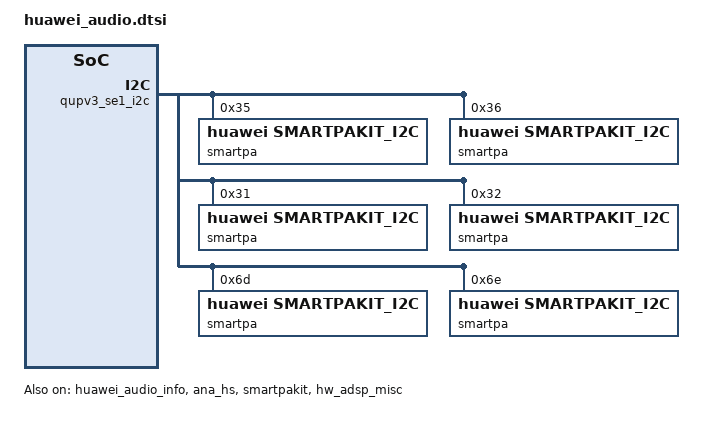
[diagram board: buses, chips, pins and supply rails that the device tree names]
&bolero {
	wcd937x-codec {
		qcom,cdc-micbias1-mv = <2700>;
		qcom,cdc-micbias2-mv = <2700>;
		qcom,cdc-micbias3-mv = <2700>;
	};
};

&bengal_snd {
	always_enable_micbias_after_insert = "true";
	disable_elect_insert_irq = "true";
};

&tlmm {
	smartpakit_irq_pins: smartpakit_irq_pins {
		smartpakit_irq_default: smartpakit_irq_default {
			mux {
				pins = "gpio103", "gpio102";
				function = "gpio";
			};

			config {
				pins = "gpio103", "gpio102";
				bias-pull-up;
				input-enable;
			};
		};
	};
};

&huawei_audio_info {
	compatible = "hw,hw_audio_info";
	product_identifier = "STG";
	voice_vol_level = "10";
	pa_identifier = "smartpakit";
	smartpa_i2s = <1>;
	smartpa_num = "2";
	speaker_test_content = "main_right_speaker,main_left_speaker";
	status = "ok";
	hardware_info {
		mic_num = "2";
		direct_devices = "0x4000000";
		get_ec_in_hal = "true";
		voip_handset_concurrency = "true";
		voip_ap_algo_enable = "true";
		voip_scene_support = "true";
		need_mode_delay = "true";
		status = "ok";
		mic_content = "bottom:mainmic#top:submic";
	};

	audio_channel_rotation_info {
		angle="90";
		rotation_support= "true";
	};
};

&tlmm {
	audio_mic_en_on: audio_mic_en_on {
		mux {
			pins = "gpio111";
			function = "gpio";
		};

		config {
			pins = "gpio111";
			bias-disable;
			output-high;
			drive-strength = <2>; /* 2 MA */
		};
	};

	audio_mic_en_off: audio_mic_en_off {
		mux {
			pins = "gpio111";
			function = "gpio";
		};

		config {
			pins = "gpio111";
			bias-disable;
			output-low;
			bias-pull-down; /* PULL DOWN */
			drive-strength = <2>; /* 2 MA */
		};
	};

	typec_ear_3v3_en_on: typec_ear_3v3_en_on {
		mux {
			pins = "gpio112";
			function = "gpio";
		};

		config {
			pins = "gpio112";
			drive-strength = <2>;
			bias-disable;
			output-high;
		};
	};

	typec_ear_3v3_en_off: typec_ear_3v3_en_off {
		mux {
			pins = "gpio112";
			function = "gpio";
		};

		config {
			pins = "gpio112";
			drive-strength = <2>;
			bias-pull-down;
			input-enable;
		};

	};

	smartpa1_reset: smartpa1_reset {
		mux {
			pins = "gpio108";
			function = "gpio";
		};

		config {
			pins = "gpio108";
			bias-disable;
			output-low;
			bias-pull-down; /* PULL DOWN */
			drive-strength = <2>; /* 2 MA */
		};
	};
};

&ana_hs {
	compatible = "huawei,ana_hs";
	status = "ok";
	ana_hs_core@0 {
		compatible = "huawei,ana_hs_core";
		pinctrl_used;  // use pinctrl to set ldo supply
		bus_type = <2>; // 0: gpio,  1: i2c,   2: pinctrl

		pinctrl-names = "mic_off", "mic_on", "ldo_off", "ldo_on";
		pinctrl-0 = <&audio_mic_en_off>;
		pinctrl-1 = <&audio_mic_en_on>;
		pinctrl-2 = <&typec_ear_3v3_en_off>;
		pinctrl-3 = <&typec_ear_3v3_en_on>;

		plugout_timing_optimization = <1>;
		plugin_status_stable_delay = <300>;
		status = "ok";
	};
};

&audio_hw_config {
	asr_enable = "true";
	vassistant_call = "true";
	cam_record_perf = "true";
	voip_perf = "true";
};

&qupv3_se1_i2c {
	#address-cells = <1>;
	#size-cells = <0>;
	status = "ok";

	smartpa@35 {
		compatible = "huawei,smartpakit_i2c";
		reg = <0x35>;
		pa_num_by_same_i2c_addr = <2>;
		status = "ok";

		smartpa0 {
			/* 0 MAXIM, 1 NXP, 2 TI, 3 OTHER, 4:huawei customize */
			chip_vendor = <4>;
			/* refer to smartpakit.out_device prop */
			chip_id = <0>;
			chip_model = "01-02";
			status = "ok";

			/* reg_ctl node: a node contains three data<addr value ctl_type>
			 * ctl_type: 0 read reg(default), 1 write reg, 2 only time delay
			 * value:
			 *     read:  reg number(num >= 1)
			 *     write: reg value
			 *     delay: time delay
			 * time delay unit: msecs */
			version_regs = <0x03 1 0>;
			dump_regs = <0 256 0>;
			hw_reset {
				gpio_reset = <&tlmm 54 0>; // GPIO_54
				/* gpio_state node: a node contains two data<state delay>
				 * time delay unit: msecs */
				ctl_sequence = <1 1 0 1>;
			};
			irq_handler {
				gpio_irq = <&tlmm 102 0>; // GPIO_102
				/* 0x0 IRQF_TRIGGER_NONE, 0x1 IRQF_TRIGGER_RISING, 0x2 IRQF_TRIGGER_FALLING, 0x4 IRQF_TRIGGER_HIGH, 0x8 IRQF_TRIGGER_LOW*/
				irq_flags = <2>;
				/* whether or not need reset chip*/
				need_reset;
				rw_sequence = <
					0x10 1 0
					0x11 1 0
					0x13 1 0
					0x14 1 0
					0x40 1 0
					0x41 1 0
					0x42 1 0
				>;
			};
			regmap_cfg {
				reg_bits = <8>;
				val_bits = <16>;
				/* 0 REGCACHE_NONE, 1 REGCACHE_RBTREE, 2 REGCACHE_COMPRESSED, 3 REGCACHE_FLAT */
				cache_type = <0>;
				max_register = <0xff>;
				reg_defaults = <
					0x00 0x1801
					0x01 0x0014
				>;
			};
		};

		smartpa1 {
			/* 0 MAXIM, 1 NXP, 2 TI, 3 OTHER, 4:huawei customize */
			chip_vendor = <4>;
			/* refer to smartpakit.out_device prop */
			chip_id = <0>;
			chip_model = "06-01";
			/* maybe trigger one irq after some chip reset, ext. tas2560
			 * debounce wait time unit: msecs */
			reset_debounce_wait_time = <200>;
			sync_irq_debounce_time;
			status = "ok";

			/* reg_ctl node: a node contains three data<addr value ctl_type>
			 * ctl_type: 0 read reg(default), 1 write reg, 2 only time delay
			 * value:
			 *     read:  reg number(num >= 1)
			 *     write: reg value
			 *     delay: time delay
			 * time delay unit: msecs */
			version_regs = <0x00 1 0>;
			dump_regs = <0 256 0>;
			hw_reset {
				gpio_reset = <&tlmm 54 0>; // GPIO_54
				/* gpio_state node: a node contains two data<state delay>
				 * time delay unit: msecs */
				ctl_sequence = <0 1 1 1>;
			};
			irq_handler {
				gpio_irq = <&tlmm 102 0>; // GPIO_102
				/* 0x0 IRQF_TRIGGER_NONE, 0x1 IRQF_TRIGGER_RISING, 0x2 IRQF_TRIGGER_FALLING, 0x4 IRQF_TRIGGER_HIGH, 0x8 IRQF_TRIGGER_LOW*/
				irq_flags = <2>;
				/* whether or not need reset chip*/
				need_reset;
				rw_sequence = <
					0x00 8 0
					0x09 5 0
					0x12 3 0
					0x60 2 0
					0x78 1 0
					0x7a 1 0
				>;
			};
			regmap_cfg {
				reg_bits = <8>;
				val_bits = <16>;
				/* 0 REGCACHE_NONE, 1 REGCACHE_RBTREE, 2 REGCACHE_COMPRESSED, 3 REGCACHE_FLAT */
				cache_type = <0>;
				max_register = <0xff>;
			};
		};
	};

	smartpa@36 {
		compatible = "huawei,smartpakit_i2c";
		pinctrl-names = "default";
		pinctrl-0 = <&smartpa1_reset>;
		reg = <0x36>;
		pa_num_by_same_i2c_addr = <2>;
		status = "ok";

		smartpa0 {
			/* 0 MAXIM, 1 NXP, 2 TI, 3 OTHER, 4:huawei customize */
			chip_vendor = <4>;
			/* refer to smartpakit.out_device prop */
			chip_id = <1>;
			chip_model = "01-02";
			status = "ok";

			/* reg_ctl node: a node contains three data<addr value ctl_type>
			 * ctl_type: 0 read reg(default), 1 write reg, 2 only time delay
			 * value:
			 *     read:  reg number(num >= 1)
			 *     write: reg value
			 *     delay: time delay
			 * time delay unit: msecs */
			version_regs = <0x03 1 0>;
			dump_regs = <0 256 0>;
			hw_reset {
				gpio_reset = <&tlmm 108 0>; // GPIO_108
				/* gpio_state node: a node contains two data<state delay>
				 * time delay unit: msecs */
				ctl_sequence = <1 1 0 1>;
			};
			irq_handler {
				gpio_irq = <&tlmm 103 0>; // GPIO_103
				/* 0x0 IRQF_TRIGGER_NONE, 0x1 IRQF_TRIGGER_RISING, 0x2 IRQF_TRIGGER_FALLING, 0x4 IRQF_TRIGGER_HIGH, 0x8 IRQF_TRIGGER_LOW*/
				irq_flags = <2>;
				/* whether or not need reset chip*/
				need_reset;
				rw_sequence = <
					0x10 1 0
					0x11 1 0
					0x13 1 0
					0x14 1 0
					0x40 1 0
					0x41 1 0
					0x42 1 0
				>;
			};
			regmap_cfg {
				reg_bits = <8>;
				val_bits = <16>;
				/* 0 REGCACHE_NONE, 1 REGCACHE_RBTREE, 2 REGCACHE_COMPRESSED, 3 REGCACHE_FLAT */
				cache_type = <0>;
				max_register = <0xff>;
				reg_defaults = <
					0x00 0x1801
					0x01 0x0014
				>;
			};
		};

		smartpa1 {
			/* 0 MAXIM, 1 NXP, 2 TI, 3 OTHER, 4:huawei customize */
			chip_vendor = <4>;
			/* refer to smartpakit.out_device prop */
			chip_id = <1>;
			chip_model = "06-01";
			/* maybe trigger one irq after some chip reset, ext. tas2560
			 * debounce wait time unit: msecs */
			reset_debounce_wait_time = <200>;
			sync_irq_debounce_time;
			status = "ok";

			/* reg_ctl node: a node contains three data<addr value ctl_type>
			 * ctl_type: 0 read reg(default), 1 write reg, 2 only time delay
			 * value:
			 *     read:  reg number(num >= 1)
			 *     write: reg value
			 *     delay: time delay
			 * time delay unit: msecs */
			version_regs = <0x00 1 0>;
			dump_regs = <0 256 0>;
			hw_reset {
				gpio_reset = <&tlmm 108 0>; // GPIO_108
				/* gpio_state node: a node contains two data<state delay>
				 * time delay unit: msecs */
				ctl_sequence = <0 1 1 1>;
			};
			irq_handler {
				gpio_irq = <&tlmm 103 0>; // GPIO_103
				/* 0x0 IRQF_TRIGGER_NONE, 0x1 IRQF_TRIGGER_RISING, 0x2 IRQF_TRIGGER_FALLING, 0x4 IRQF_TRIGGER_HIGH, 0x8 IRQF_TRIGGER_LOW*/
				irq_flags = <2>;
				/* whether or not need reset chip*/
				need_reset;
				rw_sequence = <
					0x00 8 0
					0x09 5 0
					0x12 3 0
					0x60 2 0
					0x78 1 0
					0x7a 1 0
				>;
			};
			regmap_cfg {
				reg_bits = <8>;
				val_bits = <16>;
				/* 0 REGCACHE_NONE, 1 REGCACHE_RBTREE, 2 REGCACHE_COMPRESSED, 3 REGCACHE_FLAT */
				cache_type = <0>;
				max_register = <0xff>;
			};
		};
	};

	smartpa@31{
		compatible = "huawei,smartpakit_i2c";
		reg = <0x31>;
		/* 0 MAXIM, 1 NXP, 2 TI, 3 OTHER, 4:huawei customize */
		chip_vendor = <4>;
		/* refer to smartpakit.out_device prop */
		chip_id = <0>;
		chip_model = "06-01";
		/* maybe trigger one irq after some chip reset, ext. tas2560
		 * debounce wait time unit: msecs */
		reset_debounce_wait_time = <200>;
		sync_irq_debounce_time;
		status = "ok";

		/* reg_ctl node: a node contains three data<addr value ctl_type>
		 * ctl_type: 0 read reg(default), 1 write reg, 2 only time delay
		 * value:
		 *     read:  reg number(num >= 1)
		 *     write: reg value
		 *     delay: time delay
		 * time delay unit: msecs */
		version_regs = <0x00 1 0>;
		dump_regs = <0 256 0>;
		hw_reset {
			gpio_reset = <&tlmm 54 0>; // GPIO_54
			/* gpio_state node: a node contains two data<state delay>
			 * time delay unit: msecs */
			ctl_sequence = <0 1 1 1>;
		};
		irq_handler {
			gpio_irq = <&tlmm 102 0>; // GPIO_102
			/* 0x0 IRQF_TRIGGER_NONE, 0x1 IRQF_TRIGGER_RISING, 0x2 IRQF_TRIGGER_FALLING, 0x4 IRQF_TRIGGER_HIGH, 0x8 IRQF_TRIGGER_LOW*/
			irq_flags = <2>;
			/* whether or not need reset chip*/
			need_reset;
			rw_sequence = <
				0x00 8 0
				0x09 5 0
				0x12 3 0
				0x60 2 0
				0x78 1 0
				0x7a 1 0
			>;
		};
		regmap_cfg {
			reg_bits = <8>;
			val_bits = <16>;
			/* 0 REGCACHE_NONE, 1 REGCACHE_RBTREE, 2 REGCACHE_COMPRESSED, 3 REGCACHE_FLAT */
			cache_type = <0>;
			max_register = <0xff>;
		};
	};
	smartpa@32{
		compatible = "huawei,smartpakit_i2c";
		pinctrl-names = "default";
		pinctrl-0 = <&smartpa1_reset>;
		reg = <0x32>;
		/* 0 MAXIM, 1 NXP, 2 TI, 3 OTHER, 4:huawei customize */
		chip_vendor = <4>;
		/* refer to smartpakit.out_device prop */
		chip_id = <1>;
		chip_model = "06-01";
		/* maybe trigger one irq after some chip reset, ext. tas2560
		 * debounce wait time unit: msecs */
		reset_debounce_wait_time = <200>;
		sync_irq_debounce_time;
		status = "ok";

		/* reg_ctl node: a node contains three data<addr value ctl_type>
		 * ctl_type: 0 read reg(default), 1 write reg, 2 only time delay
		 * value:
		 *     read:  reg number(num >= 1)
		 *     write: reg value
		 *     delay: time delay
		 * time delay unit: msecs */
		version_regs = <0x00 1 0>;
		dump_regs = <0 256 0>;
		hw_reset {
			gpio_reset = <&tlmm 108 0>; // GPIO_108
			/* gpio_state node: a node contains two data<state delay>
			 * time delay unit: msecs */
			ctl_sequence = <0 1 1 1>;
		};
		irq_handler {
			gpio_irq = <&tlmm 103 0>; // GPIO_103
			/* 0x0 IRQF_TRIGGER_NONE, 0x1 IRQF_TRIGGER_RISING, 0x2 IRQF_TRIGGER_FALLING, 0x4 IRQF_TRIGGER_HIGH, 0x8 IRQF_TRIGGER_LOW*/
			irq_flags = <2>;
			/* whether or not need reset chip*/
			need_reset;
			rw_sequence = <
				0x00 8 0
				0x09 5 0
				0x12 3 0
				0x60 2 0
				0x78 1 0
				0x7a 1 0
			>;
		};
		regmap_cfg {
			reg_bits = <8>;
			val_bits = <16>;
			/* 0 REGCACHE_NONE, 1 REGCACHE_RBTREE, 2 REGCACHE_COMPRESSED, 3 REGCACHE_FLAT */
			cache_type = <0>;
			max_register = <0xff>;
		};
	};
	smartpa@6D{
		compatible = "huawei,smartpakit_i2c";
		reg = <0x6D>;
		/* 0 MAXIM, 1 NXP, 2 TI, 3 OTHER, 4:huawei customize */
		chip_vendor = <4>;
		/* refer to smartpakit.out_device prop */
		chip_id = <0>;
		chip_model = "07-01";
		/* maybe trigger one irq after some chip reset, ext. tas2560
		 * debounce wait time unit: msecs */
		reset_debounce_wait_time = <200>;
		sync_irq_debounce_time;
		status = "ok";

		/* reg_ctl node: a node contains three data<addr value ctl_type>
		 * ctl_type: 0 read reg(default), 1 write reg, 2 only time delay
		 * value:
		 *     read:  reg number(num >= 1)
		 *     write: reg value
		 *     delay: time delay
		 * time delay unit: msecs */
		version_regs = <0x06 1 0>;
		dump_regs = <0 96 0>;
		hw_reset {
			gpio_reset = <&tlmm 54 0>; // GPIO_54
			/* gpio_state node: a node contains two data<state delay>
			 * time delay unit: msecs */
			ctl_sequence = <1 5 0 5>;
		};
		irq_handler {
			gpio_irq = <&tlmm 102 0>; // GPIO_102
			/* 0x0 IRQF_TRIGGER_NONE, 0x1 IRQF_TRIGGER_RISING, 0x2 IRQF_TRIGGER_FALLING, 0x4 IRQF_TRIGGER_HIGH, 0x8 IRQF_TRIGGER_LOW*/
			irq_flags = <2>;
			/* whether or not need reset chip*/
			need_reset;
			rw_sequence = <
				0x00 9 0
				0x0A 1 0
			>;
		};
		regmap_cfg {
			reg_bits = <8>;
			val_bits = <16>;
			/* 0 REGCACHE_NONE, 1 REGCACHE_RBTREE, 2 REGCACHE_COMPRESSED, 3 REGCACHE_FLAT */
			cache_type = <0>;
			max_register = <0x60>;
		};
	};

	smartpa@6E{
		compatible = "huawei,smartpakit_i2c";
		pinctrl-names = "default";
		pinctrl-0 = <&smartpa1_reset>;
		reg = <0x6E>;
		/* 0 MAXIM, 1 NXP, 2 TI, 3 OTHER, 4:huawei customize */
		chip_vendor = <4>;
		/* refer to smartpakit.out_device prop */
		chip_id = <1>;
		chip_model = "07-01";
		/* maybe trigger one irq after some chip reset, ext. tas2560
		 * debounce wait time unit: msecs */
		reset_debounce_wait_time = <200>;
		sync_irq_debounce_time;
		status = "ok";

		/* reg_ctl node: a node contains three data<addr value ctl_type>
		 * ctl_type: 0 read reg(default), 1 write reg, 2 only time delay
		 * value:
		 *     read:  reg number(num >= 1)
		 *     write: reg value
		 *     delay: time delay
		 * time delay unit: msecs */
		version_regs = <0x06 1 0>;
		dump_regs = <0 96 0>;
		hw_reset {
			gpio_reset = <&tlmm 108 0>; // GPIO_108
			/* gpio_state node: a node contains two data<state delay>
			 * time delay unit: msecs */
			ctl_sequence = <1 5 0 5>;
		};
		irq_handler {
			gpio_irq = <&tlmm 103 0>; // GPIO_103
			/* 0x0 IRQF_TRIGGER_NONE, 0x1 IRQF_TRIGGER_RISING, 0x2 IRQF_TRIGGER_FALLING, 0x4 IRQF_TRIGGER_HIGH, 0x8 IRQF_TRIGGER_LOW*/
			irq_flags = <2>;
			/* whether or not need reset chip*/
			need_reset;
			rw_sequence = <
				0x00 9 0
				0x0A 1 0
			>;
		};
		regmap_cfg {
			reg_bits = <8>;
			val_bits = <16>;
			/* 0 REGCACHE_NONE, 1 REGCACHE_RBTREE, 2 REGCACHE_COMPRESSED, 3 REGCACHE_FLAT */
			cache_type = <0>;
			max_register = <0x60>;
		};
	};
};

&smartpakit {
	compatible = "huawei,smartpakit";
	/* 0 hisi, 1 qcom */
	soc_platform = <1>;
	/* algo running on: 0 codec_dsp, 1 soc_dsp, 2 smartpa_dsp, 3 simple pa(not smpartpa), 4 simple pa(with i2c) */
	algo_in = <1>;
	/* algo_in params need match out_device for smartpa.
	 * Now, up to only support eight pa, so out_device = <0 0 0 0 0 0 0 0>;
	 * 1. This array is arranged in the following order:
	 *    <0 1 2 3>
	 *    <pril prir secl secr>
	 * 2. This array element value is 0 or 1:
	 *    smartpa: 0 speaker, 1 receiver
	 *    simple pa: out_device not applicable, only set 0 to indicate pa_num
	 * 3. The length of this array is variable, for example:
	 *    single pa: out_device = <0>;
	 *    two pa: out_device = <0 0>;
	 *    four pa: out_device = <1 1 0 0>;
	 *    eight pa: out_device = <0 0 0 0 0 0 0 0>; */
	out_device = <0 1>;
	/* param_version: 1 mixed smartpa param support */
	param_version = <1>;
	special_name_config = "smartpa_dual_spk_playback";
	cali_data_update_mode = <1>;
	status = "ok";

	smartpakit_irq_pinctrl;
	pinctrl-names = "default";
	pinctrl-0 = <&smartpakit_irq_default>;

};

&hw_adsp_misc {
	compatible = "hw,hw_adsp_misc";
	rx_port_id = <0x1000>;
	tx_port_id = <0x1001>;
	smartpa_num = <2>;
	status = "ok";

	customize_smartamp: customize_smartamp@0{
		compatible = "huawei,customize_smartamp";
		algo_control_need = <0>;
		status = "ok";
	};
};
